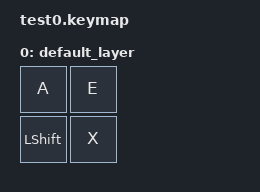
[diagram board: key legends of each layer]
#include <behaviors.dtsi>

/ {
    keymap {
        compatible = "zmk,keymap";

        default_layer {
            bindings = <
                &kp A       &kp E
                &kp LSHFT   &kp X
            >;
        };
    };
};
